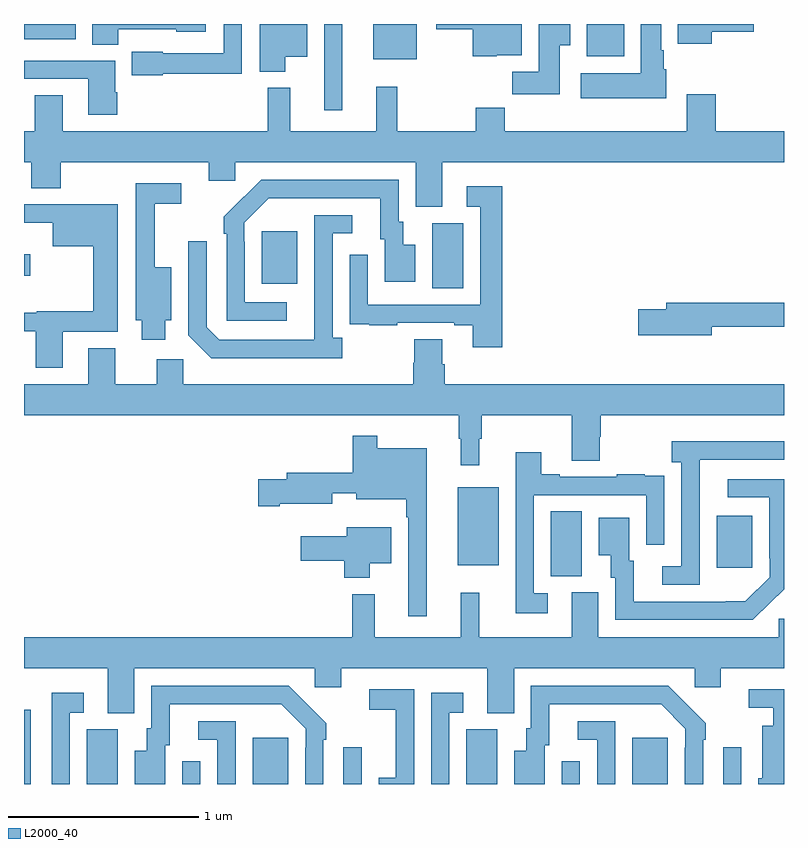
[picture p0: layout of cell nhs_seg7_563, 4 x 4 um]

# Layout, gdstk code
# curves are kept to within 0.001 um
import gdstk
lib = gdstk.Library(unit=1e-6, precision=1e-09)
def R(c, l, rs):  # rectangles x0, y0, x1, y1
    for r in rs: c.add(gdstk.rectangle(r[:2], r[2:], *l))
def P(c, l, *ps):  # polygons
    for p in ps: c.add(gdstk.Polygon(p, *l))
L2000_40 = (2000, 40)

nhs_seg7_563 = lib.new_cell('nhs_seg7_563')
R(nhs_seg7_563, L2000_40, [(155,1008,155.035,1008.392), (155.33,1008,155.494,1008.288), (155.832,1008,155.928,1008.121), (156.203,1008,156.391,1008.244), (156.681,1008,156.777,1008.193), (157.328,1008,157.492,1008.288), (157.83,1008,157.926,1008.121), (158.201,1008,158.389,1008.244), (158.679,1008,158.775,1008.193), (157.772,1009.093,157.936,1009.436), (158.645,1009.137,158.833,1009.411), (157.283,1009.151,157.498,1009.561), (157.148,1010.608,157.312,1010.952), (156.251,1010.633,156.439,1010.908), (155,1010.675,155.032,1010.788), (156.579,1011.546,156.676,1012), (156.839,1011.815,157.066,1012), (157.961,1011.83,158.158,1012), (155,1011.92,155.272,1012)])
P(nhs_seg7_563, L2000_40, [(155.496,1011.972),(155.802,1011.972),(155.802,1011.959),(155.956,1011.959),(155.956,1012),(155.36,1012),(155.36,1011.892),(155.496,1011.892)],
  [(158.62,1011.959),(158.842,1011.959),(158.842,1012),(158.441,1012),(158.441,1011.896),(158.62,1011.896)],
  [(156.376,1011.827),(156.49,1011.827),(156.49,1012),(156.242,1012),(156.242,1011.749),(156.376,1011.749)],
  [(157.819,1011.889),(157.876,1011.889),(157.876,1012),(157.709,1012),(157.709,1011.748),(157.57,1011.748),(157.57,1011.63),(157.819,1011.63)],
  [(158.38,1011.762),(158.368,1011.762),(158.368,1011.862),(158.353,1011.862),(158.353,1012),(158.246,1012),(158.246,1011.742),(157.929,1011.742),(157.929,1011.608),(158.38,1011.608)],
  [(157.488,1011.836),(157.621,1011.836),(157.621,1012),(157.17,1012),(157.17,1011.973),(157.363,1011.973),(157.363,1011.83),(157.488,1011.83)],
  [(155.73,1011.738),(156.147,1011.738),(156.147,1012),(156.051,1012),(156.051,1011.846),(155.73,1011.846),(155.73,1011.855),(155.568,1011.855),(155.568,1011.73),(155.73,1011.73)],
  [(155.492,1011.641),(155.479,1011.641),(155.479,1011.807),(155,1011.807),(155,1011.711),(155.339,1011.711),(155.339,1011.522),(155.492,1011.522)],
  [(157.201,1011.272),(159,1011.272),(159,1011.436),(158.642,1011.436),(158.642,1011.631),(158.489,1011.631),(158.489,1011.436),(157.529,1011.436),(157.529,1011.56),(157.378,1011.56),(157.378,1011.436),(156.964,1011.436),(156.964,1011.67),(156.854,1011.67),(156.854,1011.436),(156.401,1011.436),(156.401,1011.664),(156.283,1011.664),(156.283,1011.436),(155.203,1011.436),(155.203,1011.626),(155.056,1011.626),(155.056,1011.436),(155,1011.436),(155,1011.272),(155.038,1011.272),(155.038,1011.136),(155.193,1011.136),(155.193,1011.272),(155.972,1011.272),(155.972,1011.174),(156.111,1011.174),(156.111,1011.272),(157.061,1011.272),(157.061,1011.037),(157.201,1011.037)],
  [(156.382,1010.535),(156.162,1010.535),(156.162,1010.855),(156.159,1010.855),(156.159,1010.955),(156.288,1011.084),(156.875,1011.084),(156.875,1010.868),(156.899,1010.868),(156.899,1010.643),(157.06,1010.643),(157.06,1010.839),(156.997,1010.839),(156.997,1010.958),(156.972,1010.958),(156.972,1011.18),(156.248,1011.18),(156.051,1010.985),(156.051,1010.897),(156.066,1010.897),(156.066,1010.439),(156.382,1010.439)],
  [(155.743,1010.441),(155.776,1010.441),(155.776,1010.719),(155.687,1010.719),(155.687,1011.054),(155.827,1011.054),(155.827,1011.162),(155.589,1011.162),(155.589,1010.441),(155.621,1010.441),(155.621,1010.339),(155.743,1010.339)],
  [(157.517,1011.145),(157.329,1011.145),(157.329,1011.039),(157.401,1011.039),(157.401,1010.523),(156.81,1010.523),(156.81,1010.785),(156.714,1010.785),(156.714,1010.53),(156.715,1010.53),(156.715,1010.421),(156.817,1010.421),(156.817,1010.415),(156.965,1010.415),(156.965,1010.427),(157.265,1010.427),(157.265,1010.415),(157.361,1010.415),(157.361,1010.298),(157.517,1010.298)],
  [(155.203,1010.379),(155.494,1010.379),(155.494,1011.052),(155.254,1011.052),(155.254,1011.051),(155,1011.051),(155,1010.954),(155.15,1010.954),(155.15,1010.831),(155.365,1010.831),(155.365,1010.488),(155.067,1010.488),(155.067,1010.479),(155,1010.479),(155,1010.382),(155.063,1010.382),(155.063,1010.19),(155.203,1010.19)],
  [(156.676,1010.35),(156.624,1010.35),(156.624,1010.898),(156.727,1010.898),(156.727,1010.994),(156.528,1010.994),(156.527,1010.337),(156.027,1010.337),(155.961,1010.403),(155.961,1010.857),(155.865,1010.857),(155.865,1010.361),(155.986,1010.24),(156.676,1010.24)],
  [(158.62,1010.406),(159,1010.406),(159,1010.534),(158.381,1010.534),(158.381,1010.498),(158.232,1010.498),(158.232,1010.363),(158.62,1010.363)],
  [(157.397,1009.817),(157.408,1009.817),(157.408,1009.94),(157.883,1009.94),(157.883,1009.702),(158.031,1009.702),(158.031,1009.827),(158.036,1009.827),(158.036,1009.94),(159,1009.94),(159,1010.104),(157.214,1010.104),(157.214,1010.21),(157.201,1010.21),(157.201,1010.342),(157.054,1010.342),(157.054,1010.217),(157.049,1010.217),(157.049,1010.104),(155.838,1010.104),(155.838,1010.236),(155.699,1010.236),(155.699,1010.104),(155.479,1010.104),(155.479,1010.294),(155.339,1010.294),(155.339,1010.104),(155,1010.104),(155,1009.94),(157.287,1009.94),(157.287,1009.817),(157.298,1009.817),(157.298,1009.677),(157.397,1009.677)],
  [(157.12,1009.768),(156.859,1009.768),(156.859,1009.834),(156.73,1009.834),(156.73,1009.639),(156.383,1009.639),(156.383,1009.605),(156.234,1009.605),(156.234,1009.463),(156.346,1009.463),(156.346,1009.475),(156.622,1009.475),(156.622,1009.529),(156.749,1009.529),(156.749,1009.499),(157.011,1009.499),(157.011,1009.403),(157.023,1009.403),(157.023,1008.882),(157.12,1008.882)],
  [(158.556,1009.507),(158.557,1009.507),(158.557,1009.707),(159,1009.707),(159,1009.804),(158.409,1009.804),(158.409,1009.694),(158.46,1009.694),(158.46,1009.146),(158.358,1009.146),(158.358,1009.05),(158.556,1009.05)],
  [(157.756,1009.005),(157.683,1009.005),(157.683,1009.521),(158.274,1009.521),(158.274,1009.26),(158.37,1009.26),(158.37,1009.514),(158.369,1009.514),(158.369,1009.623),(158.267,1009.623),(158.267,1009.63),(158.119,1009.63),(158.119,1009.617),(157.819,1009.617),(157.819,1009.63),(157.723,1009.63),(157.723,1009.747),(157.587,1009.747),(157.587,1008.9),(157.756,1008.9)],
  [(158.927,1008.955),(158.928,1008.954),(159,1009.026),(159,1009.605),(158.703,1009.605),(158.703,1009.509),(158.922,1009.509),(158.922,1009.189),(158.925,1009.189),(158.925,1009.089),(158.797,1008.961),(158.209,1008.96),(158.209,1009.176),(158.185,1009.176),(158.185,1009.402),(158.024,1009.402),(158.024,1009.205),(158.087,1009.205),(158.087,1009.086),(158.112,1009.086),(158.112,1008.864),(158.836,1008.864)],
  [(156.82,1009.163),(156.934,1009.163),(156.934,1009.351),(156.698,1009.351),(156.698,1009.303),(156.456,1009.303),(156.456,1009.174),(156.686,1009.174),(156.686,1009.085),(156.82,1009.085)],
  [(155.581,1008.608),(156.531,1008.608),(156.531,1008.51),(156.67,1008.51),(156.67,1008.608),(157.439,1008.608),(157.439,1008.373),(157.579,1008.373),(157.579,1008.608),(158.529,1008.608),(158.529,1008.51),(158.668,1008.51),(158.668,1008.608),(159,1008.608),(159,1008.87),(158.973,1008.87),(158.973,1008.772),(158.023,1008.772),(158.023,1009.008),(157.883,1009.008),(157.883,1008.772),(157.397,1008.772),(157.397,1009.006),(157.298,1009.006),(157.298,1008.772),(156.845,1008.772),(156.845,1009),(156.727,1009),(156.727,1008.772),(155,1008.772),(155,1008.608),(155.441,1008.608),(155.441,1008.373),(155.581,1008.373)],
  [(157.741,1008.204),(157.765,1008.204),(157.765,1008.42),(158.353,1008.42),(158.481,1008.291),(158.481,1008.191),(158.478,1008.191),(158.478,1008),(158.574,1008),(158.574,1008.233),(158.589,1008.233),(158.589,1008.321),(158.392,1008.516),(157.668,1008.516),(157.668,1008.294),(157.643,1008.294),(157.643,1008.175),(157.58,1008.175),(157.58,1008),(157.741,1008)],
  [(155.743,1008.204),(155.767,1008.204),(155.767,1008.42),(156.355,1008.42),(156.483,1008.291),(156.483,1008.191),(156.48,1008.191),(156.48,1008),(156.576,1008),(156.576,1008.233),(156.591,1008.233),(156.591,1008.321),(156.394,1008.516),(155.67,1008.516),(155.67,1008.294),(155.645,1008.294),(155.645,1008.175),(155.582,1008.175),(155.582,1008),(155.743,1008)],
  [(159,1008.498),(158.814,1008.498),(158.814,1008.402),(158.943,1008.402),(158.943,1008.307),(158.885,1008.307),(158.885,1008.03),(158.864,1008.03),(158.864,1008),(159,1008)],
  [(157.053,1008.498),(156.816,1008.498),(156.816,1008.39),(156.956,1008.39),(156.956,1008.034),(156.866,1008.034),(156.866,1008),(157.053,1008)],
  [(157.239,1008.375),(157.312,1008.375),(157.312,1008.481),(157.143,1008.481),(157.143,1008),(157.239,1008)],
  [(155.241,1008.375),(155.314,1008.375),(155.314,1008.481),(155.145,1008.481),(155.145,1008),(155.241,1008)],
  [(158.112,1008.33),(157.914,1008.33),(157.914,1008.234),(158.016,1008.234),(158.016,1008),(158.112,1008)],
  [(156.114,1008.33),(155.916,1008.33),(155.916,1008.234),(156.018,1008.234),(156.018,1008),(156.114,1008)])

lib.write_gds('nhs_seg7_563.gds')
